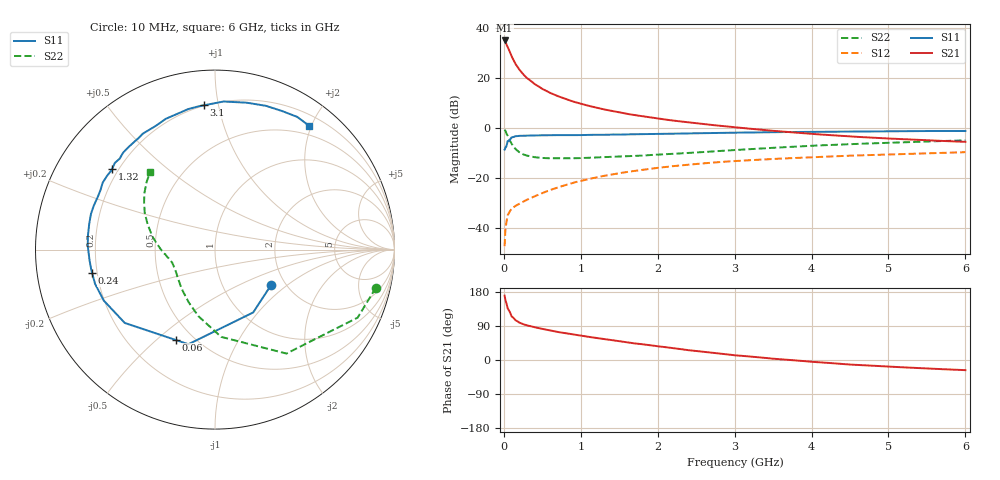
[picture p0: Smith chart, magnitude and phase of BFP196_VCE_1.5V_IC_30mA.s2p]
! Infineon Technologies  Discrete & RF Semiconductors
! BFP196
! VCE = 1.5 V,  IC =  30mA
! Common Emitter S-Parameters:  Jan 2016
# GHz  S  MA  R  50
!  f  S11  S21  S12  S22
! GHz  MAG  ANG  MAG  ANG  MAG  ANG  MAG  ANG
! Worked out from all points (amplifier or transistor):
!   210 points, 10 MHz to 6 GHz, reference 50 ohm
!   highest |S21| = 34.9 dB at 10 MHz (marker M1)
!   |S21| within 3 dB of that: start of sweep to 56.07 MHz
!   unconditionally stable (mu >= 1): 540.5 MHz to 4.46 GHz; 4.641 GHz to 4.785 GHz
!   at 185 MHz: K = 0.60, MSG = 27.3 dB, |S12| = -30.5 dB
!   at 1.52 GHz: K = 1.10, MAG = 10.1 dB, |S12| = -18.0 dB
!   at 6 GHz: K = 0.99, MSG = 2.1 dB, |S12| = -9.7 dB
!   S11 on the Smith chart (normalised r, x): 10 MHz: 1.69, -0.77; 60 MHz: 0.40, -0.58; 240 MHz: 0.18, -0.09; 1.32 GHz: 0.18, +0.34; 3.1 GHz: 0.20, +0.91; 6 GHz: 0.35, +1.96
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0.01  0.3695 -32.1  55.31 169.7  0.0044 80.2  0.9213 -13.3
0.02  0.4098 -58.7  52.31 158.7  0.0093 71.6  0.8805 -25.5
0.05  0.5477 -105.7  41.1 135.9  0.0182 55.0  0.7028 -55.5
0.06  0.5491 -113.5  37.92 133.1  0.0194 52.3  0.6481 -59.9
0.1  0.6479 -140.9  26.65 115.4  0.0247 44.4  0.4873 -86.0
0.15  0.6817 -155.4  18.92 105.1  0.0279 43.5  0.3824 -104.0
0.2  0.695 -164.1  14.61 98.8  0.0307 44.3  0.329 -116.3
0.24  0.697 -169.3  12.32 95.5  0.033 46.3  0.3033 -123.7
0.26  0.6987 -171.5  11.38 93.9  0.0343 47.2  0.2941 -127.1
0.3  0.7014 -175.0  9.865 91.2  0.037 48.6  0.2811 -132.5
0.4  0.7098 178.1  7.49 86.3  0.0432 52.1  0.261 -142.4
0.5  0.7124 173.2  5.993 82.0  0.0502 54.7  0.2516 -149.0
0.6  0.7155 168.2  5.005 77.9  0.0576 56.3  0.2484 -153.6
0.7  0.7192 163.9  4.306 73.9  0.0649 57.1  0.248 -157.0
0.88  0.716 157.2  3.435 68.2  0.0791 57.3  0.2483 -161.6
1.02  0.7209 151.8  2.974 63.8  0.0894 56.9  0.2513 -164.1
1.32  0.7285 141.9  2.31 54.8  0.112 54.6  0.2609 -168.9
2.02  0.7608 121.3  1.526 35.8  0.1613 46.3  0.2944 -178.5
3.1  0.8063 94.4  0.996 10.9  0.2231 31.3  0.3691 165.3
4.1  0.8388 76.3  0.742 -6.0  0.2642 18.9  0.4481 151.1
5.1  0.8595 62.9  0.605 -18.4  0.2996 7.8  0.5117 139.7
6  0.8666 52.8  0.528 -26.8  0.3285 -2.2  0.5646 129.6
